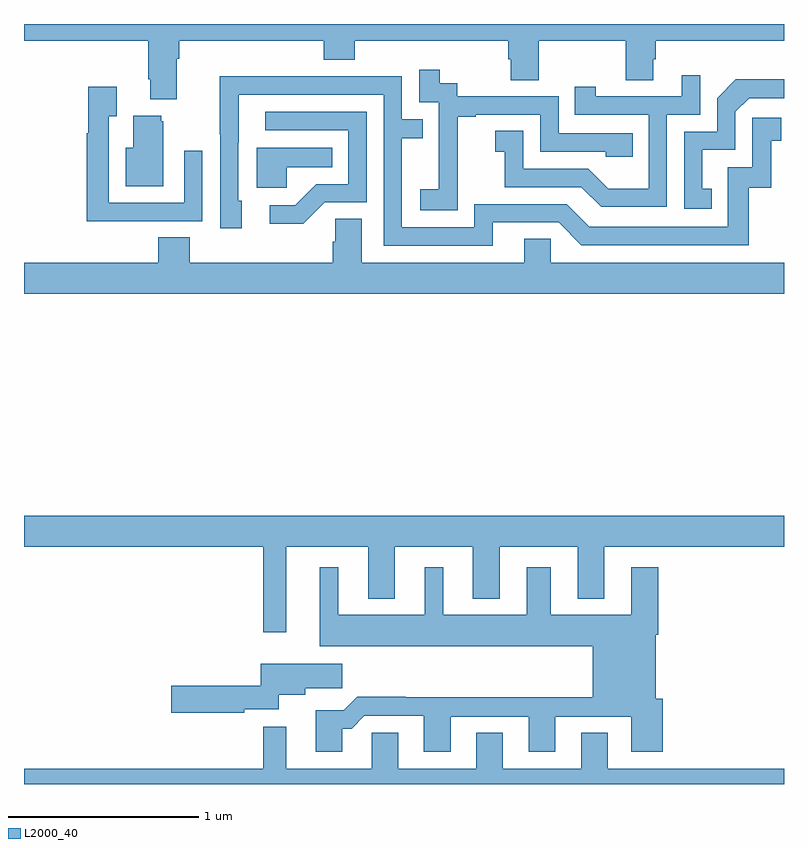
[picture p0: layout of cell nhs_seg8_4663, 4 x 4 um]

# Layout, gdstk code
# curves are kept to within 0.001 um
import gdstk
lib = gdstk.Library(unit=1e-6, precision=1e-09)
def P(c, l, *ps):  # polygons
    for p in ps: c.add(gdstk.Polygon(p, *l))
L2000_40 = (2000, 40)

nhs_seg8_4663 = lib.new_cell('nhs_seg8_4663')
P(nhs_seg8_4663, L2000_40, [(393.805,1137.716),(393.818,1137.716),(393.818,1137.812),(394.577,1137.812),(394.577,1137.713),(394.742,1137.713),(394.742,1137.812),(395.549,1137.812),(395.549,1137.714),(395.561,1137.714),(395.561,1137.604),(395.709,1137.604),(395.709,1137.812),(396.166,1137.812),(396.166,1137.604),(396.313,1137.604),(396.313,1137.714),(396.326,1137.714),(396.326,1137.812),(397,1137.812),(397,1137.9),(393,1137.9),(393,1137.812),(393.653,1137.812),(393.653,1137.61),(393.665,1137.61),(393.665,1137.503),(393.805,1137.503)],
  [(395.283,1137.127),(395.282,1137.127),(395.282,1137.411),(395.377,1137.411),(395.377,1137.423),(395.718,1137.423),(395.718,1137.228),(396.063,1137.228),(396.063,1137.201),(396.203,1137.201),(396.203,1137.324),(395.814,1137.324),(395.814,1137.519),(395.28,1137.519),(395.28,1137.588),(395.188,1137.588),(395.188,1137.658),(395.079,1137.658),(395.079,1137.489),(395.184,1137.489),(395.184,1137.26),(395.183,1137.26),(395.183,1137.031),(395.085,1137.031),(395.085,1136.921),(395.283,1136.921)],
  [(396.384,1137.423),(396.558,1137.423),(396.558,1137.631),(396.461,1137.631),(396.461,1137.519),(396.01,1137.519),(396.01,1137.571),(395.899,1137.571),(395.899,1137.423),(396.288,1137.423),(396.288,1137.034),(396.074,1137.034),(395.97,1137.138),(395.628,1137.138),(395.628,1137.337),(395.481,1137.337),(395.481,1137.227),(395.53,1137.227),(395.53,1137.042),(395.933,1137.042),(396.038,1136.937),(396.384,1136.937)],
  [(395.467,1136.856),(395.814,1136.856),(395.934,1136.736),(396.814,1136.736),(396.814,1137.039),(396.932,1137.039),(396.932,1137.285),(396.985,1137.285),(396.985,1137.406),(396.834,1137.406),(396.834,1137.147),(396.705,1137.147),(396.705,1136.832),(395.976,1136.832),(395.856,1136.952),(395.37,1136.952),(395.37,1136.829),(394.989,1136.829),(394.989,1137.298),(395.099,1137.298),(395.099,1137.399),(394.989,1137.399),(394.989,1137.624),(394.493,1137.624),(394.493,1137.626),(394.03,1137.626),(394.03,1137.319),(394.032,1137.319),(394.032,1136.826),(394.147,1136.826),(394.147,1136.97),(394.128,1136.97),(394.129,1137.528),(394.893,1137.528),(394.893,1136.733),(395.467,1136.733)],
  [(396.62,1137.033),(396.571,1137.033),(396.571,1137.237),(396.744,1137.237),(396.744,1137.438),(396.816,1137.51),(397,1137.51),(397,1137.608),(396.746,1137.608),(396.648,1137.51),(396.648,1137.333),(396.474,1137.333),(396.474,1136.928),(396.62,1136.928)],
  [(393.623,1136.862),(393.939,1136.862),(393.939,1137.232),(393.843,1137.232),(393.843,1136.958),(393.447,1136.958),(393.447,1137.415),(393.487,1137.415),(393.487,1137.571),(393.339,1137.571),(393.339,1137.326),(393.331,1137.326),(393.331,1136.861),(393.623,1136.861)],
  [(394.584,1136.961),(394.803,1136.961),(394.803,1137.438),(394.269,1137.438),(394.269,1137.342),(394.707,1137.342),(394.707,1137.057),(394.538,1137.057),(394.427,1136.946),(394.293,1136.946),(394.293,1136.849),(394.471,1136.849)],
  [(393.733,1137.387),(393.722,1137.387),(393.722,1137.418),(393.575,1137.418),(393.575,1137.25),(393.536,1137.25),(393.536,1137.047),(393.733,1137.047)],
  [(394.383,1137.146),(394.622,1137.146),(394.622,1137.25),(394.226,1137.25),(394.226,1137.038),(394.383,1137.038)],
  [(397,1136.644),(395.772,1136.644),(395.772,1136.771),(395.633,1136.771),(395.633,1136.644),(394.777,1136.644),(394.777,1136.876),(394.638,1136.876),(394.638,1136.753),(394.625,1136.753),(394.625,1136.644),(393.872,1136.644),(393.872,1136.777),(393.707,1136.777),(393.707,1136.644),(393,1136.644),(393,1136.48),(397,1136.48)],
  [(394.381,1135.148),(394.811,1135.148),(394.811,1134.875),(394.951,1134.875),(394.951,1135.148),(395.363,1135.148),(395.363,1134.875),(395.503,1134.875),(395.503,1135.148),(395.915,1135.148),(395.915,1134.875),(396.055,1134.875),(396.055,1135.148),(397,1135.148),(397,1135.312),(393,1135.312),(393,1135.148),(394.26,1135.148),(394.26,1134.699),(394.381,1134.699)],
  [(394.675,1134.191),(394.724,1134.191),(394.791,1134.258),(395.105,1134.258),(395.105,1134.069),(395.245,1134.069),(395.245,1134.255),(395.657,1134.255),(395.657,1134.069),(395.797,1134.069),(395.797,1134.255),(396.197,1134.255),(396.197,1134.069),(396.362,1134.069),(396.362,1134.348),(396.325,1134.348),(396.325,1134.686),(396.338,1134.686),(396.338,1135.042),(396.197,1135.042),(396.197,1134.79),(395.773,1134.79),(395.773,1135.042),(395.645,1135.042),(395.645,1134.79),(395.206,1134.79),(395.206,1135.042),(395.108,1135.042),(395.108,1134.79),(394.654,1134.79),(394.654,1135.042),(394.556,1135.042),(394.556,1134.626),(395.993,1134.626),(395.993,1134.356),(395.009,1134.356),(395.009,1134.359),(394.754,1134.359),(394.684,1134.289),(394.535,1134.289),(394.535,1134.069),(394.675,1134.069)],
  [(394.158,1134.293),(394.341,1134.293),(394.341,1134.371),(394.48,1134.371),(394.48,1134.403),(394.675,1134.403),(394.675,1134.532),(394.245,1134.532),(394.245,1134.416),(393.774,1134.416),(393.774,1134.274),(394.158,1134.274)],
  [(397,1133.98),(396.073,1133.98),(396.073,1134.17),(395.933,1134.17),(395.933,1133.98),(395.521,1133.98),(395.521,1134.17),(395.381,1134.17),(395.381,1133.98),(394.969,1133.98),(394.969,1134.17),(394.83,1134.17),(394.83,1133.98),(394.381,1133.98),(394.381,1134.202),(394.26,1134.202),(394.26,1133.98),(393,1133.98),(393,1133.9),(397,1133.9)])

lib.write_gds('nhs_seg8_4663.gds')
